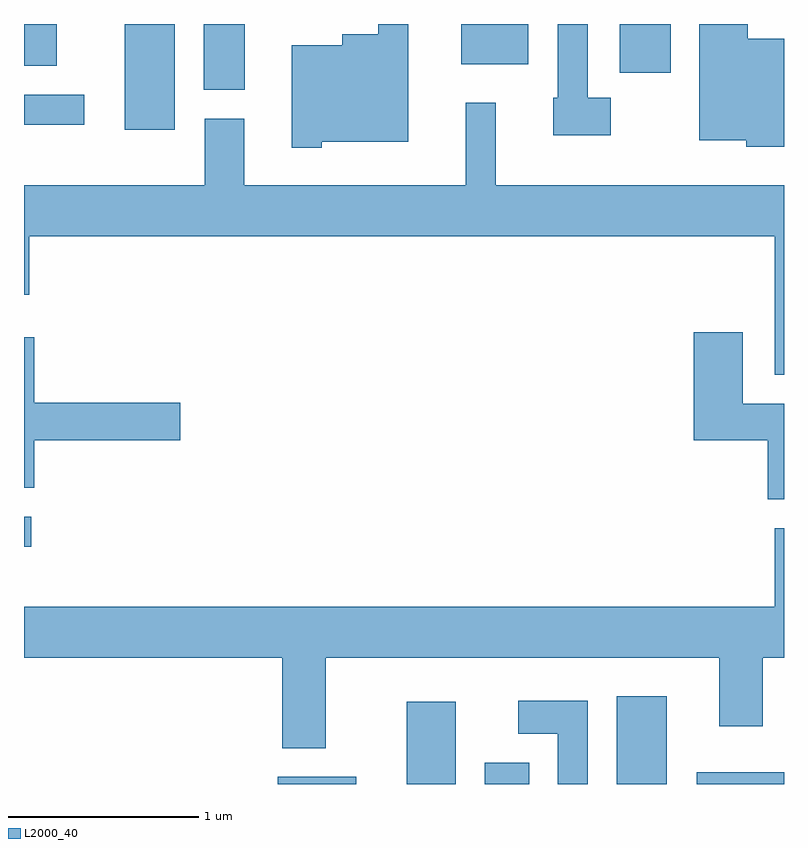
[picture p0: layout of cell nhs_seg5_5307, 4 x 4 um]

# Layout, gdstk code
import gdstk
lib = gdstk.Library(unit=1e-6, precision=1e-09)
def R(c, l, rs):  # rectangles x0, y0, x1, y1
    for r in rs: c.add(gdstk.rectangle(r[:2], r[2:], *l))
def P(c, l, *ps):  # polygons
    for p in ps: c.add(gdstk.Polygon(p, *l))
L2000_40 = (2000, 40)

nhs_seg5_5307 = lib.new_cell('nhs_seg5_5307')
R(nhs_seg5_5307, L2000_40, [(342.946,1516.072,343.359,1516.109), (343.626,1516.072,343.884,1516.504), (344.036,1516.072,344.269,1516.184), (344.731,1516.072,344.994,1516.534), (345.151,1516.072,345.611,1516.134), (341.611,1517.321,341.648,1517.479), (342.141,1519.516,342.404,1520.072), (341.611,1519.541,341.928,1519.699), (342.556,1519.726,342.774,1520.072), (344.746,1519.816,345.014,1520.072), (341.611,1519.851,341.784,1520.072), (343.911,1519.861,344.264,1520.072)])
P(nhs_seg5_5307, L2000_40, [(344.699,1519.684),(344.579,1519.684),(344.579,1520.072),(344.421,1520.072),(344.421,1519.684),(344.396,1519.684),(344.396,1519.486),(344.699,1519.486)],
  [(345.611,1519.994),(345.419,1519.994),(345.419,1520.072),(345.166,1520.072),(345.166,1519.461),(345.411,1519.461),(345.411,1519.426),(345.611,1519.426)],
  [(343.179,1519.451),(343.634,1519.451),(343.634,1520.072),(343.476,1520.072),(343.476,1520.019),(343.286,1520.019),(343.286,1519.959),(343.021,1519.959),(343.021,1519.421),(343.179,1519.421)],
  [(345.611,1519.224),(344.094,1519.224),(344.094,1519.658),(343.936,1519.658),(343.936,1519.224),(342.769,1519.224),(342.769,1519.574),(342.561,1519.574),(342.561,1519.224),(341.611,1519.224),(341.611,1518.646),(341.639,1518.646),(341.639,1518.956),(345.561,1518.956),(345.561,1518.226),(345.611,1518.226)],
  [(345.611,1518.074),(345.394,1518.074),(345.394,1518.449),(345.136,1518.449),(345.136,1517.881),(345.526,1517.881),(345.526,1517.571),(345.611,1517.571)],
  [(341.664,1517.881),(342.434,1517.881),(342.434,1518.079),(341.664,1518.079),(341.664,1518.424),(341.611,1518.424),(341.611,1517.631),(341.664,1517.631)],
  [(343.199,1516.736),(345.271,1516.736),(345.271,1516.376),(345.499,1516.376),(345.499,1516.736),(345.611,1516.736),(345.611,1517.419),(345.561,1517.419),(345.561,1517.004),(341.611,1517.004),(341.611,1516.736),(342.971,1516.736),(342.971,1516.261),(343.199,1516.261)],
  [(344.579,1516.509),(344.211,1516.509),(344.211,1516.336),(344.421,1516.336),(344.421,1516.072),(344.579,1516.072)])

lib.write_gds('nhs_seg5_5307.gds')
